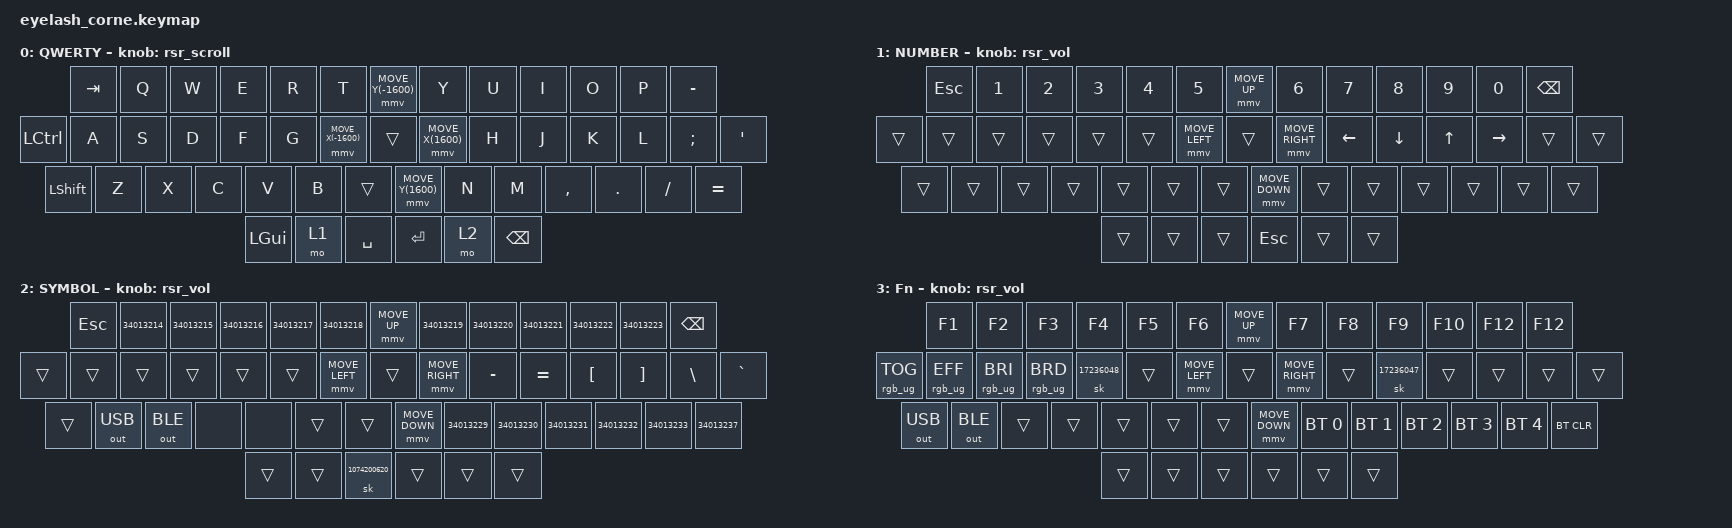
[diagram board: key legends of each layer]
// Key bindings and encoder settings imported from keymap.json (DYA Studio).
// Raw numeric keycodes are preserved exactly as exported.
#define ZMK_POINTING_DEFAULT_MOVE_VAL 1200  // 600
#define ZMK_POINTING_DEFAULT_SCRL_VAL 25   // 10

#include <input/processors.dtsi>
#include <zephyr/dt-bindings/input/input-event-codes.h>
#include <behaviors.dtsi>
#include <behaviors/runtime-sensor-rotate.dtsi>
#include <dt-bindings/zmk/bt.h>
#include <dt-bindings/zmk/keys.h>
#include <dt-bindings/zmk/outputs.h>
#include <dt-bindings/zmk/pointing.h>
#include <dt-bindings/zmk/rgb.h>

&soft_off { hold-time-ms = <2000>; };

/ {
    conditional_layers {
      compatible = "zmk,conditional-layers";

      tri_layer {
        if-layers = <1 2>;
        then-layer = <3>;
      };
    };
    behaviors {
        rsr_vol: rsr_vol {
            compatible = "zmk,behavior-runtime-sensor-rotate";
            #sensor-binding-cells = <0>;
            tap-ms = <5>;
            cw-binding = <&kp C_VOL_UP>;
            ccw-binding = <&kp C_VOL_DN>;
        };

        rsr_scroll: rsr_scroll {
            compatible = "zmk,behavior-runtime-sensor-rotate";
            #sensor-binding-cells = <0>;
            tap-ms = <16>;
            cw-binding = <&msc MOVE_Y(-100)>;
            ccw-binding = <&msc MOVE_Y(100)>;
        };
    };

   combos {
        compatible = "zmk,combos";

        softoff {
            bindings = <&soft_off>;
            key-positions = <1 15 29>;
        };
    };

    keymap {
        compatible = "zmk,keymap";

        default_layer {
            display-name = "QWERTY";
            bindings = <
&kp TAB  &kp Q  &kp W  &kp E  &kp R  &kp T  &mmv MOVE_Y(-1600)  &kp Y  &kp U  &kp I  &kp O  &kp P  &kp MINUS
&kp LCTRL  &kp A  &kp S  &kp D  &kp F  &kp G  &mmv MOVE_X(-1600)  &trans  &mmv MOVE_X(1600)  &kp H  &kp J  &kp K  &kp L  &kp SEMI  &kp SQT
&kp LSHFT  &kp Z  &kp X  &kp C  &kp V  &kp B  &trans  &mmv MOVE_Y(1600)  &kp N  &kp M  &kp COMMA  &kp DOT  &kp FSLH  &kp EQUAL
&kp LGUI  &mo 1  &kp SPACE  &kp ENTER  &mo 2  &kp BSPC
            >;

            sensor-bindings = <&rsr_scroll>;
        };

        lower_layer {
            display-name = "NUMBER";
            bindings = <
&kp ESC  &kp N1  &kp N2  &kp N3  &kp N4  &kp N5  &mmv MOVE_UP  &kp N6  &kp N7  &kp N8  &kp N9  &kp N0  &kp BSPC
&trans  &trans  &trans  &trans  &trans  &trans  &mmv MOVE_LEFT  &trans  &mmv MOVE_RIGHT  &kp LEFT  &kp DOWN  &kp UP  &kp RIGHT  &trans  &trans
&trans  &trans  &trans  &trans  &trans  &trans  &trans  &mmv MOVE_DOWN  &trans  &trans  &trans  &trans  &trans  &trans
&trans  &trans  &trans  &kp ESC  &trans  &trans
            >;

            sensor-bindings = <&rsr_vol>;
        };

        raise_layer {
            display-name = "SYMBOL";
            bindings = <
&kp ESC  &kp 34013214  &kp 34013215  &kp 34013216  &kp 34013217  &kp 34013218  &mmv MOVE_UP  &kp 34013219  &kp 34013220  &kp 34013221  &kp 34013222  &kp 34013223  &kp BSPC
&trans  &trans  &trans  &trans  &trans  &trans  &mmv MOVE_LEFT  &trans  &mmv MOVE_RIGHT  &kp MINUS  &kp EQUAL  &kp LBKT  &kp RBKT  &kp BSLH  &kp GRAVE
&trans  &out OUT_USB  &out OUT_BLE  &none  &none  &trans  &trans  &mmv MOVE_DOWN  &kp 34013229  &kp 34013230  &kp 34013231  &kp 34013232  &kp 34013233  &kp 34013237
&trans  &trans  &sk 1074200620  &trans  &trans  &trans
            >;

            sensor-bindings = <&rsr_vol>;
        };

        layer_3 {
            display-name = "Fn";
            bindings = <
&kp F1  &kp F2  &kp F3  &kp F4  &kp F5  &kp F6  &mmv MOVE_UP  &kp F7  &kp F8  &kp F9  &kp F10  &kp F12  &kp F12
&rgb_ug RGB_TOG  &rgb_ug RGB_EFF  &rgb_ug RGB_BRI  &rgb_ug RGB_BRD  &sk 17236048  &trans  &mmv MOVE_LEFT  &trans  &mmv MOVE_RIGHT  &trans  &sk 17236047  &trans  &trans  &trans  &trans
&out OUT_USB  &out OUT_BLE  &trans  &trans  &trans  &trans  &trans  &mmv MOVE_DOWN  &bt BT_SEL 0  &bt BT_SEL 1  &bt BT_SEL 2  &bt BT_SEL 3  &bt BT_SEL 4  &bt BT_CLR
&trans  &trans  &trans  &trans  &trans  &trans
            >;

            sensor-bindings = <&rsr_vol>;
        };
    };
};
